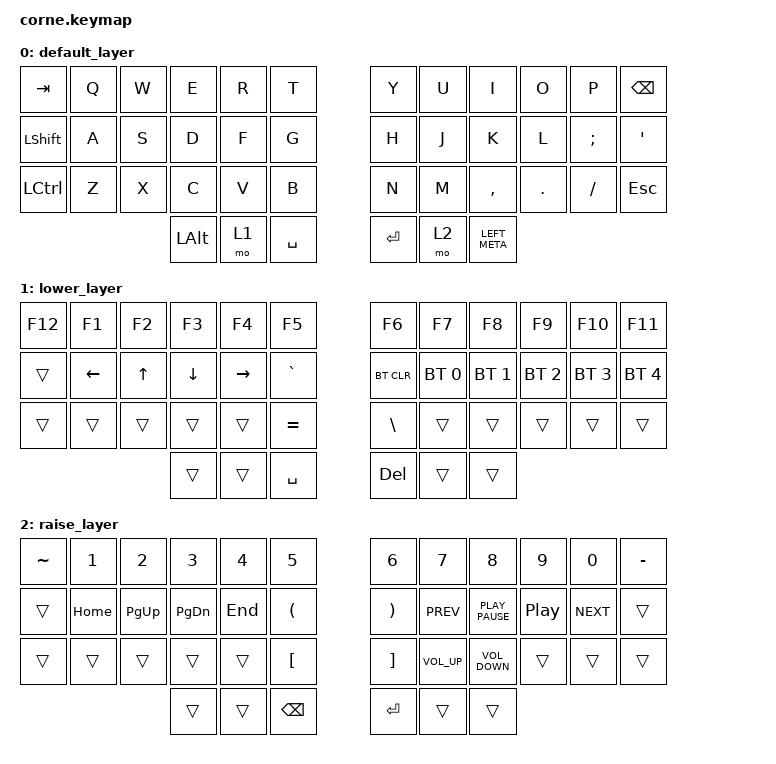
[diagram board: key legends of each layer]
/*
 * Copyright (c) 2020 The ZMK Contributors
 *
 * SPDX-License-Identifier: MIT
 */

#include <behaviors.dtsi>
#include <dt-bindings/zmk/bt.h>
#include <dt-bindings/zmk/keys.h>

/ {
    keymap {
        compatible = "zmk,keymap";

        default_layer {
            // -----------------------------------------------------------------------------------------
            // |  TAB |  Q  |  W  |  E  |  R  |  T  |   |  Y  |  U   |  I  |  O  |  P  | BSPC |
            // | CTRL |  A  |  S  |  D  |  F  |  G  |   |  H  |  J   |  K  |  L  |  ;  |  '   |
            // | SHFT |  Z  |  X  |  C  |  V  |  B  |   |  N  |  M   |  ,  |  .  |  /  | ESC  |
            //                    | GUI | LWR | SPC |   | ENT | RSE  | ALT |

            bindings = <
&kp TAB         &kp Q  &kp W  &kp E         &kp R  &kp T        &kp Y    &kp U  &kp I          &kp O    &kp P     &kp BSPC
&kp LEFT_SHIFT  &kp A  &kp S  &kp D         &kp F  &kp G        &kp H    &kp J  &kp K          &kp L    &kp SEMI  &kp SQT
&kp LCTRL       &kp Z  &kp X  &kp C         &kp V  &kp B        &kp N    &kp M  &kp COMMA      &kp DOT  &kp FSLH  &kp ESC
                              &kp LEFT_ALT  &mo 1  &kp SPACE    &kp RET  &mo 2  &kp LEFT_META
            >;
        };

        lower_layer {
            // -----------------------------------------------------------------------------------------
            // |  TAB |  1  |  2  |  3  |  4  |  5  |   |  6  |  7  |  8  |  9  |  0  | BSPC |
            // | BTCLR| BT1 | BT2 | BT3 | BT4 | BT5 |   | LFT | DWN |  UP | RGT |     |      |
            // | SHFT |     |     |     |     |     |   |     |     |     |     |     |      |
            //                    | GUI |     | SPC |   | ENT |     | ALT |

            bindings = <
&kp F12  &kp F1          &kp F2        &kp F3          &kp F4           &kp F5       &kp F6         &kp F7        &kp F8        &kp F9        &kp F10       &kp F11
&trans   &kp LEFT_ARROW  &kp UP_ARROW  &kp DOWN_ARROW  &kp RIGHT_ARROW  &kp GRAVE    &bt BT_CLR     &bt BT_SEL 0  &bt BT_SEL 1  &bt BT_SEL 2  &bt BT_SEL 3  &bt BT_SEL 4
&trans   &trans          &trans        &trans          &trans           &kp EQUAL    &kp BACKSLASH  &trans        &trans        &trans        &trans        &trans
                                       &trans          &trans           &kp SPACE    &kp DEL        &trans        &trans
            >;
        };

        raise_layer {
            // -----------------------------------------------------------------------------------------
            // |  TAB |  !  |  @  |  #  |  $  |  %  |   |  ^  |  &  |  *  |  (  |  )  | BSPC |
            // | CTRL |     |     |     |     |     |   |  -  |  =  |  [  |  ]  |  \  |  `   |
            // | SHFT |     |     |     |     |     |   |  _  |  +  |  {  |  }  | "|" |  ~   |
            //                    | GUI |     | SPC |   | ENT |     | ALT |

            bindings = <
&kp TILDE  &kp NUMBER_1  &kp NUMBER_2  &kp NUMBER_3   &kp NUMBER_4  &kp N5                  &kp NUMBER_6           &kp N7           &kp N8             &kp N9            &kp N0      &kp MINUS
&trans     &kp HOME      &kp PG_UP     &kp PAGE_DOWN  &kp END       &kp LEFT_PARENTHESIS    &kp RIGHT_PARENTHESIS  &kp C_PREV       &kp K_PLAY_PAUSE   &kp C_PLAY_PAUSE  &kp C_NEXT  &trans
&trans     &trans        &trans        &trans         &trans        &kp LEFT_BRACKET        &kp RIGHT_BRACKET      &kp C_VOLUME_UP  &kp C_VOLUME_DOWN  &trans            &trans      &trans
                                       &trans         &trans        &kp BACKSPACE           &kp RET                &trans           &trans
            >;
        };
    };
};
